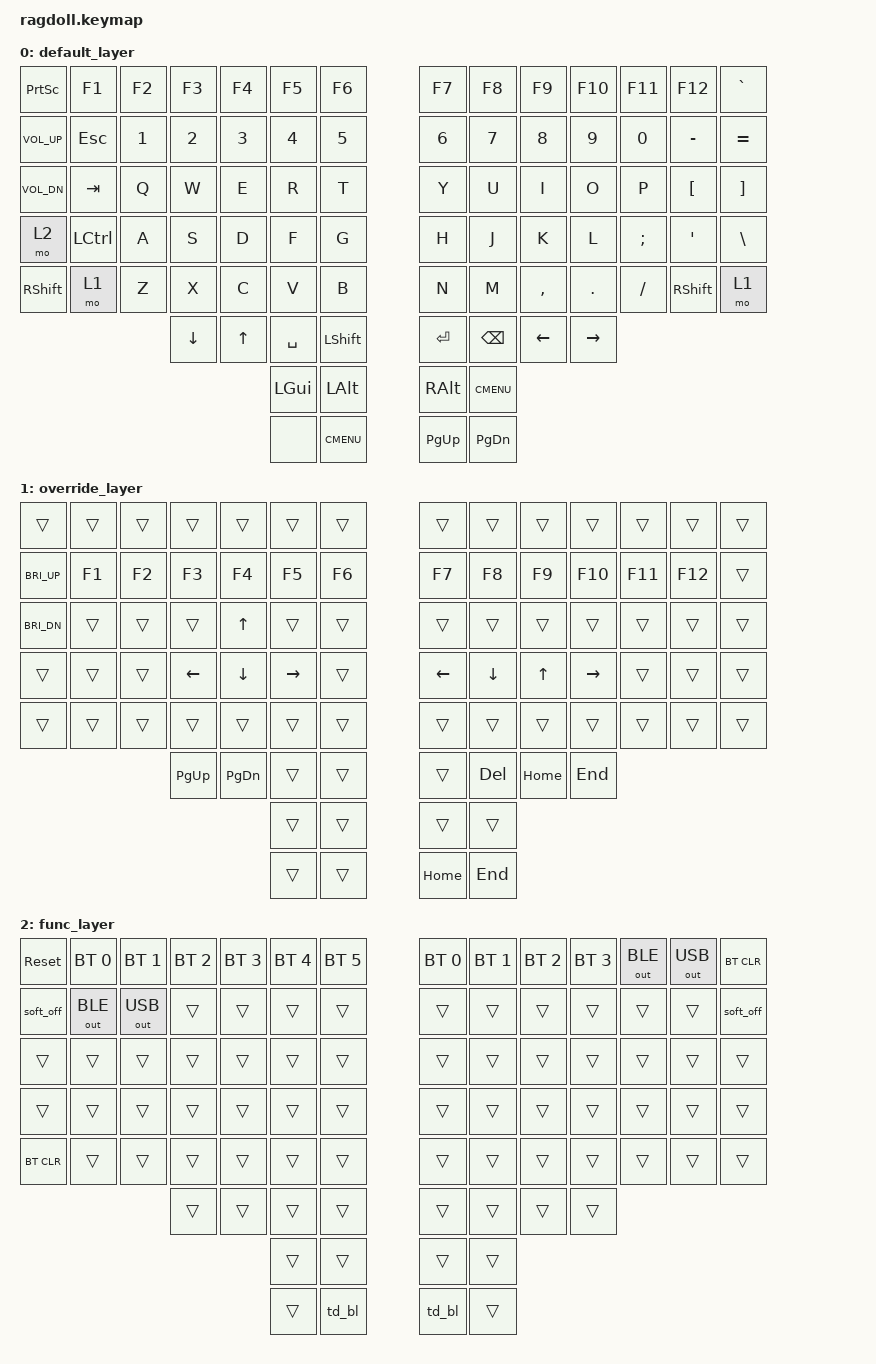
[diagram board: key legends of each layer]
#include <behaviors.dtsi>
#include <dt-bindings/zmk/keys.h>
#include <dt-bindings/zmk/outputs.h>
#include <dt-bindings/zmk/bt.h>

/ {
    behaviors {
        td_bl: tap_dance_0 {
            compatible = "zmk,behavior-tap-dance";
            label = "TAP_DANCE_BOOTLOADER";
            #binding-cells = <0>;
            tapping-term-ms = <200>;
            bindings = <&none>, <&none>, <&none>, <&none>, <&none>, <&none>, <&bootloader>;
        };
        td_rs: tap_dance_1 {
            compatible = "zmk,behavior-tap-dance";
            label = "TAP_DANCE_RESET";
            #binding-cells = <0>;
            tapping-term-ms = <200>;
            bindings = <&none>, <&none>, <&none>, <&none>, <&none>, <&none>, <&sys_reset>;
        };
    };

    keymap {
        compatible = "zmk,keymap";
        default_layer {
            bindings = <
                &kp PSCRN    &kp F1    &kp F2  &kp F3   &kp F4   &kp F5    &kp F6                 &kp F7      &kp F8     &kp F9     &kp F10  &kp F11  &kp F12   &kp GRAVE
                &kp C_VOL_UP &kp ESC   &kp N1  &kp N2   &kp N3   &kp N4    &kp N5                 &kp N6      &kp N7     &kp N8     &kp N9   &kp N0   &kp MINUS &kp EQUAL
                &kp C_VOL_DN &kp TAB   &kp Q   &kp W    &kp E    &kp R     &kp T                  &kp Y       &kp U      &kp I      &kp O    &kp P    &kp LBKT  &kp RBKT
                &mo 2        &kp LCTRL &kp A   &kp S    &kp D    &kp F     &kp G                  &kp H       &kp J      &kp K      &kp L    &kp SEMI &kp APOS  &kp BSLH
                &kp RSHFT    &mo 1     &kp Z   &kp X    &kp C    &kp V     &kp B                  &kp N       &kp M      &kp COMMA  &kp DOT  &kp FSLH &kp RSHFT &mo 1
                                               &kp DOWN &kp UP   &kp SPACE &kp LSHFT              &kp RET     &kp BSPC   &kp LEFT   &kp RIGHT
                                                                 &kp LGUI  &kp LALT               &kp RALT    &kp K_CMENU
                                                                 &none     &kp K_CMENU            &kp PG_UP   &kp PG_DN
            >;
        };

        override_layer {
            bindings = <
                &trans        &trans  &trans  &trans    &trans    &trans    &trans                 &trans   &trans   &trans   &trans    &trans  &trans  &trans
                &kp C_BRI_UP  &kp F1  &kp F2  &kp F3    &kp F4    &kp F5    &kp F6                 &kp F7   &kp F8   &kp F9   &kp F10   &kp F11 &kp F12 &trans
                &kp C_BRI_DN  &trans  &trans  &trans    &kp UP    &trans    &trans                 &trans   &trans   &trans   &trans    &trans  &trans  &trans
                &trans        &trans  &trans  &kp LEFT  &kp DOWN  &kp RIGHT &trans                 &kp LEFT &kp DOWN &kp UP   &kp RIGHT &trans  &trans  &trans
                &trans        &trans  &trans  &trans    &trans    &trans    &trans                 &trans   &trans   &trans   &trans    &trans  &trans  &trans
                                              &kp PG_UP &kp PG_DN &trans    &trans                 &trans   &kp DEL  &kp HOME &kp END
                                                                  &trans    &trans                 &trans   &trans
                                                                  &trans    &trans                 &kp HOME &kp END
            >;
        };

        func_layer {
            bindings = <
                &sys_reset  &bt BT_SEL 0 &bt BT_SEL 1 &bt BT_SEL 2 &bt BT_SEL 3 &bt BT_SEL 4 &bt BT_SEL 5                 &bt BT_SEL 0   &bt BT_SEL 1   &bt BT_SEL 2  &bt BT_SEL 3 &out OUT_BLE &out OUT_USB &bt BT_CLR
                &soft_off  &out OUT_BLE &out OUT_USB       &trans       &trans       &trans       &trans                       &trans   &trans   &trans  &trans  &trans       &trans       &soft_off
                &trans  &trans       &trans       &trans       &trans       &trans       &trans                       &trans   &trans   &trans  &trans  &trans       &trans       &trans
                &trans  &trans       &trans       &trans       &trans       &trans       &trans                       &trans   &trans   &trans  &trans  &trans       &trans       &trans
                &bt BT_CLR  &trans       &trans       &trans       &trans       &trans       &trans                       &trans   &trans   &trans  &trans  &trans       &trans       &trans
                                                  &trans       &trans       &trans       &trans                       &trans   &trans   &trans  &trans
                                                                            &trans       &trans                       &trans   &trans
                                                                            &trans       &td_bl                       &td_bl   &trans
            >;
        };
    };
};
